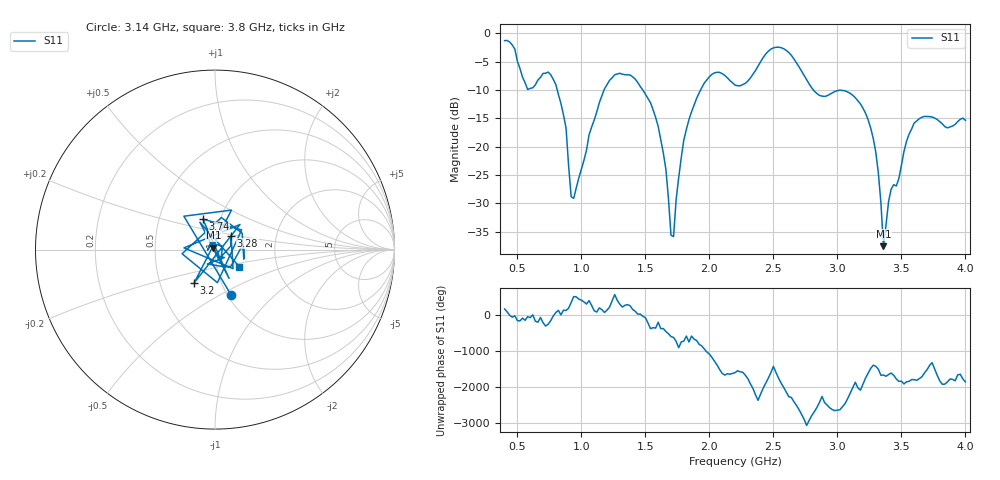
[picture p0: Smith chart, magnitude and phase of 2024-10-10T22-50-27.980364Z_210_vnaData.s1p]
! Created with skrf (http://scikit-rf.org).
# Hz S RI R 50.0
!freq ReS11 ImS11
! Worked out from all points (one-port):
!   181 points, 400 MHz to 4 GHz, reference 50 ohm
!   lowest |S11| = -37.5 dB at 3.36 GHz (marker M1), VSWR 1.03, Z = 49.2 + j1.01 ohm
!   |S11| at or under -10 dB: 811.3 MHz to 1.177 GHz (365.4 MHz wide, 36.8 % of centre); 1.48 GHz to 1.931 GHz (450.7 MHz wide, 26.4 % of centre); 2.813 GHz to end of sweep
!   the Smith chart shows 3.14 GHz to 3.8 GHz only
!   S11 on the Smith chart (normalised r, x): 3.14 GHz: 1.04, -0.57; 3.2 GHz: 0.74, -0.29; 3.28 GHz: 1.18, +0.19; 3.74 GHz: 0.83, +0.29; 3.8 GHz: 1.29, -0.25
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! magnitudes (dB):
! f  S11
! 400 MHz  -1.3
! 580 MHz  -9.9
! 760 MHz  -7.3
! 860 MHz  -14.4
! 940 MHz  -29.1
! 1.16 GHz  -11.0
! 1.3 GHz  -7.0
! 1.58 GHz  -14.8
! 1.66 GHz  -24.0
! 1.7 GHz  -35.6
! 1.72 GHz  -35.8
! 1.76 GHz  -25.5
! 1.84 GHz  -15.2
! 1.96 GHz  -8.8
! 2.2 GHz  -9.1
! 2.5 GHz  -2.6
! 2.66 GHz  -4.5
! 2.86 GHz  -10.9
! 3.1 GHz  -10.6
! 3.14 GHz  -11.4
! 3.2 GHz  -13.2
! 3.28 GHz  -18.5
! 3.36 GHz  -37.5
! 3.42 GHz  -27.5
! 3.56 GHz  -17.8
! 3.74 GHz  -14.8
! 3.8 GHz  -15.6
! 4 GHz  -15.3
